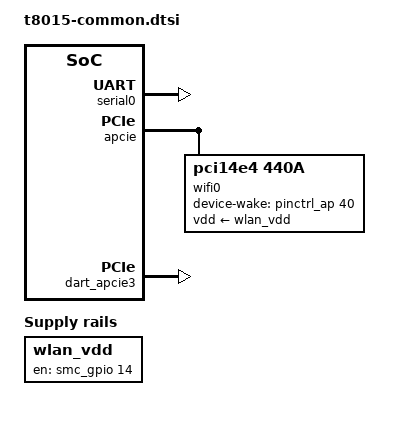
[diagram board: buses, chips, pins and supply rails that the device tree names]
// SPDX-License-Identifier: GPL-2.0+ OR MIT
/*
 * Apple iPhone 8, iPhone 8 Plus, iPhone X
 *
 * This file contains parts common to all Apple A11 devices.
 *
 * target-type: D20, D21, D22, D201, D211, D221
 *
 * Copyright (c) 2024, Nick Chan <towinchenmi@gmail.com>
 */

/ {
	aliases {
		ausbphy0 = &ausbphy0;
		serial0 = &serial0;
		/* Used by loader to fill properties*/
		smc = &smc;
	};

	chosen {
		#address-cells = <2>;
		#size-cells = <2>;
		ranges;

		stdout-path = "serial0";

		framebuffer0: framebuffer@0 {
			compatible = "apple,simple-framebuffer", "simple-framebuffer";
			reg = <0 0 0 0>; /* To be filled by loader */
			power-domains = <&ps_disp0_be &ps_mipi_dsi &ps_disp0_hilo &ps_disp0_ppp>;
			/* Format properties will be added by loader */
			status = "disabled";
		};
	};

	memory@800000000 {
		device_type = "memory";
		reg = <0x8 0 0 0>; /* To be filled by loader */
	};

	reserved-memory {
		#address-cells = <2>;
		#size-cells = <2>;
		ranges;

		/* To be filled by loader */
	};
};

&serial0 {
	status = "okay";
};

&smc_hwmon {
	temperature-TG0B {
		apple,key-id = "TG0B";
		label = "Battery Temp";
	};

	temperature-TG0V {
		apple,key-id = "TG0V";
		label = "Battery Flex Temp";
	};

	temperature-TP1d {
		apple,key-id = "TP1d";
		label = "Forehead Temp";
	};

	temperature-TP2d {
		apple,key-id = "TP2d";
		label = "Rear Camera Temp";
	};

	temperature-TP3d {
		apple,key-id = "TP3d";
		label = "Cellular Radio Temp";
	};

	temperature-TP4d {
		apple,key-id = "TP4d";
		label = "AP SoC Temp";
	};

	temperature-TP5d {
		apple,key-id = "TP5d";
		label = "Charger Temp";
	};
};

/* The boot loader set up the display; nothing restores it after power loss. */
&ps_disp0_be {
	apple,always-on;
	apple,manual-pm;
};

&ps_mipi_dsi {
	apple,always-on;
	apple,manual-pm;
};

&ps_disp0_hilo {
	apple,always-on;
	apple,manual-pm;
};

&ps_disp0_ppp {
	apple,always-on;
	apple,manual-pm;
};

/*
 * Wi-Fi, the same on every A11 iPhone (iOS 16.7.16 DeviceTree.d20ap, d201ap,
 * d21ap, d211ap, d22ap, d221ap): a BCM4357 on PCIe port 3 behind
 * dart-apcie3, PERST# on AP GPIO 167, CLKREQ# on 163, device-wake on 40, and
 * REG_ON on SMC PMU GPIO 14 ("gP0e"). brcmfmac takes the module (apolloe,
 * pegasusk, herculese, ...) from the ADT's module-instance.
 */
/ {
	aliases {
		wifi0 = &wifi0;
	};

	wlan_vdd: regulator-wlan-vdd {
		compatible = "regulator-fixed";
		regulator-name = "wlan-vdd";
		gpio = <&smc_gpio 14 GPIO_ACTIVE_HIGH>;
		enable-active-high;
		off-on-delay-us = <2500>;
	};
};

&apcie {
	iommu-map = <0x100 &dart_apcie3 0 0x0 0x80000000 0x0 0x3ffff000 1>;
	iommu-map-mask = <0xff00>;
	pinctrl-0 = <&wifi_clkreq>;
	pinctrl-names = "default";
	status = "okay";

	port03: pci@3,0 {
		device_type = "pci";
		reg = <0x1800 0x0 0x0 0x0 0x0>;
		bus-range = <1 1>;
		max-link-speed = <2>;
		apple,manual-availability-iommu = <&dart_apcie3 0>;
		reset-gpios = <&pinctrl_ap 167 GPIO_ACTIVE_LOW>;

		#address-cells = <3>;
		#size-cells = <2>;
		ranges;

		wifi0: wifi@0,0 {
			compatible = "pci14e4,440a";
			reg = <0x10000 0x0 0x0 0x0 0x0>;
			device-wake-gpios = <&pinctrl_ap 40 GPIO_ACTIVE_HIGH>;
			vdd-supply = <&wlan_vdd>;
			brcm,ccode-map-trivial;
		};
	};
};

/* The Wi-Fi port's DART: apple-h9p reloads it by hand and needs its device. */
&dart_apcie3 {
	status = "okay";
};

&pinctrl_ap {
	wifi_clkreq: wifi-clkreq-pins {
		pinmux = <APPLE_PINMUX(163, 1)>;
	};
};
